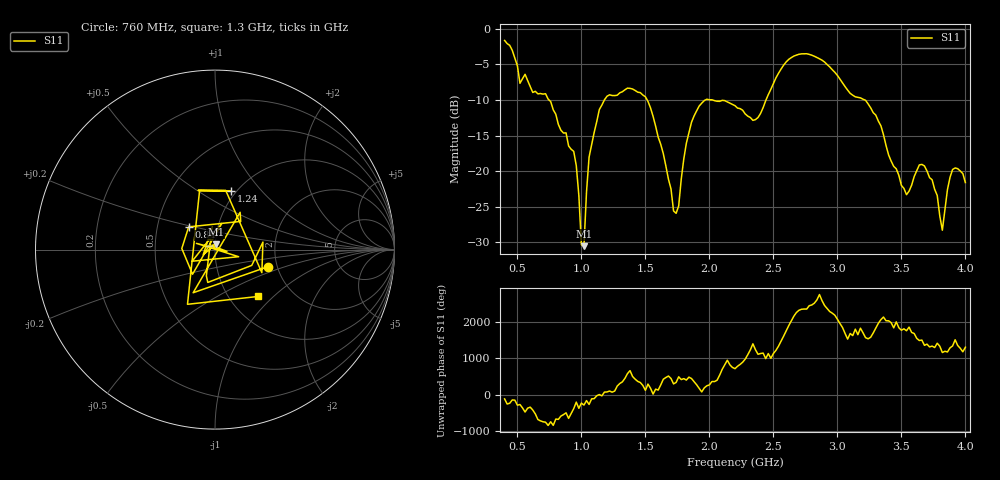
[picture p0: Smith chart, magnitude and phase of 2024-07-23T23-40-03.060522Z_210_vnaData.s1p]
!Created with skrf (http://scikit-rf.org).
# Hz S RI R 50.0
!freq ReS11 ImS11
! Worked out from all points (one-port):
!   181 points, 400 MHz to 4 GHz, reference 50 ohm
!   lowest |S11| = -30.5 dB at 1.02 GHz (marker M1), VSWR 1.06, Z = 50.4 + j2.96 ohm
!   |S11| at or under -10 dB: 746.5 MHz to 1.18 GHz (433.3 MHz wide, 45 % of centre); 1.514 GHz to 1.97 GHz (456.5 MHz wide, 26.2 % of centre); 3.213 GHz to end of sweep (the widest 3 of 4)
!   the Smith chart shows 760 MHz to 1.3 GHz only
!   S11 on the Smith chart (normalised r, x): 760 MHz: 1.78, -0.38; 840 MHz: 0.72, +0.19; 1.24 GHz: 0.95, +0.70; 1.3 GHz: 1.35, -0.81
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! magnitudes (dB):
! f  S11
! 400 MHz  -1.7
! 520 MHz  -7.7
! 760 MHz  -10.2
! 840 MHz  -14.3
! 860 MHz  -14.7
! 940 MHz  -17.2
! 980 MHz  -23.4
! 1 GHz  -30.3
! 1.02 GHz  -30.5
! 1.06 GHz  -18.0
! 1.14 GHz  -11.4
! 1.24 GHz  -9.4
! 1.3 GHz  -9.0
! 1.52 GHz  -10.2
! 1.72 GHz  -25.6
! 1.76 GHz  -24.9
! 1.82 GHz  -16.1
! 1.92 GHz  -10.9
! 2.2 GHz  -10.8
! 2.38 GHz  -12.5
! 2.66 GHz  -3.8
! 3.1 GHz  -9.1
! 3.3 GHz  -12.1
! 3.56 GHz  -22.8
! 3.68 GHz  -19.3
! 3.82 GHz  -28.3
! 3.9 GHz  -19.8
! 4 GHz  -21.6
